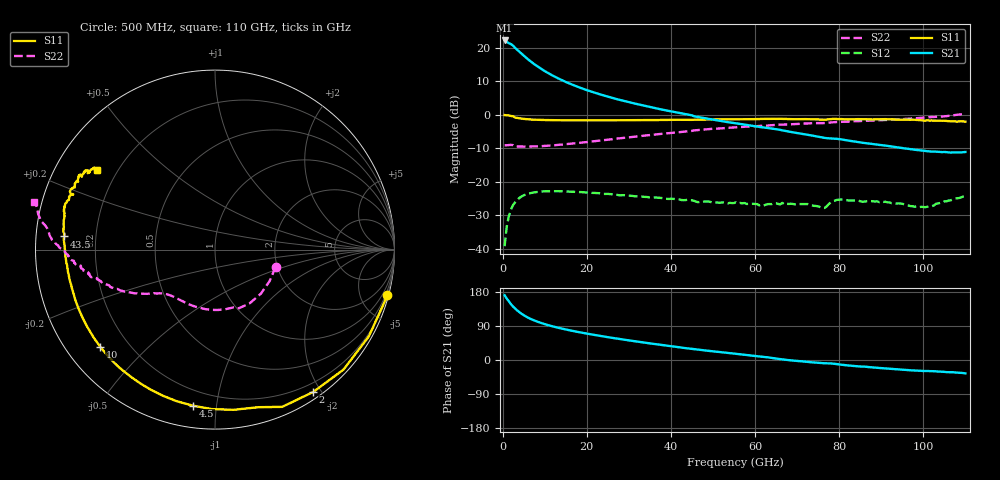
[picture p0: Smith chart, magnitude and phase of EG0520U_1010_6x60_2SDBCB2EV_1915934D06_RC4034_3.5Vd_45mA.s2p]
!File name = EG0520U_1010_6x60_2SDBCB2EV_1915934D06_RC4034_3.5Vd_45mA.s2p
!Base file name = EG0520U_1010_6x60_2SDBCB2EV_1915934D06_RC4034
!Date = 8/23/2019
!Time = 12:58 PM
!Test duration(min) = 0.15
!Test = S-Parameters
!MPTS version = 8.91.5
!State File = C:\Data\PNA\20190821205423\S-Parameters_2019-08-23.sta
!Cal File =
!ComputerName = CMPE-LAB-6
!Comments =
!Attenuation = 0
!Z0 = 50
!Input Power(dBm) = -13.00
!Device ID = EG0520U_1010_6x60_2SDBCB2EV
!Row = 40
!Column = 34
!Technology = QPHT09
!Lot/Wafer = 1915934D06
!Gate Size = 360
!Mask = EG0520
!Cal Standards = GaAs BCB
!Cal Kit = EG2306
!Job Number = 20190821205423
!Device Type = FET
!set_Vg(v) = -1.500
!set_Vd(v) = 3.500
!set_Vd(mA) = 45.000
!file_name = EG0520U_1010_6x60_2SDBCB2EV_1915934D06_RC4034_3.5Vd_45mA.s2p
!Vd(V) = 3.500
!Vd(mA) = 45.056
!Vg(V) = -0.494
!Vg(mA) = -0.002
# GHz  S  DB  R  50
!%	Freq(GHz)  s11(dB)  s11(deg)  s21(dB)  s21(deg)  s12(dB)  s12(deg)  s22(dB)  s22(deg)
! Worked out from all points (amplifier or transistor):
!   220 points, 500 MHz to 110 GHz, reference 50 ohm
!   highest |S21| = 22.2 dB at 500 MHz (marker M1)
!   |S21| within 3 dB of that: start of sweep to 3.679 GHz
!   unconditionally stable (mu >= 1): 32.14 GHz to 102.3 GHz
!   at 18.5 GHz: K = 0.55, MSG = 15.6 dB, |S12| = -23.0 dB
!   at 55.5 GHz: K = 1.53, MAG = 7.5 dB, |S12| = -26.1 dB
!   at 110 GHz: K = -1.70, MSG = 6.6 dB, |S12| = -24.2 dB
!   S11 on the Smith chart (normalised r, x): 500 MHz: 0.18, -7.66; 2 GHz: 0.09, -1.90; 4.5 GHz: 0.11, -0.86; 10 GHz: 0.10, -0.36; 43.5 GHz: 0.08, +0.04; 110 GHz: 0.13, +0.30
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0.5  -0.05 -14.9  22.22 170.9  -39.21 81.1  -9.08 -15.8
1  -0.14 -29.4  21.78 162.3  -33.44 73.4  -9.09 -30.2
2  -0.32 -55.4  21.14 147.5  -28.30 59.2  -8.97 -57.1
2.5  -0.42 -66.9  20.69 141.0  -26.93 53.4  -9.04 -67.7
3  -0.81 -74.6  20.00 135.9  -26.12 49.1  -9.42 -72.1
3.5  -0.93 -83.4  19.43 130.8  -25.38 44.6  -9.44 -80.2
4.5  -1.13 -98.0  18.29 122.1  -24.39 37.2  -9.46 -93.5
5.5  -1.26 -109.6  17.19 115.1  -23.79 31.6  -9.49 -103.6
7  -1.41 -122.8  15.66 106.8  -23.27 25.1  -9.44 -114.4
8.5  -1.48 -132.3  14.31 100.3  -22.97 20.5  -9.39 -121.3
10  -1.54 -139.8  13.10 94.8  -22.83 16.6  -9.28 -126.7
11.5  -1.58 -145.8  12.01 90.0  -22.79 13.6  -9.16 -130.7
13.5  -1.62 -152.0  10.73 84.4  -22.79 10.4  -8.94 -134.5
19  -1.66 -163.5  7.85 71.7  -23.09 4.7  -8.25 -140.9
26.5  -1.63 -172.8  4.92 57.7  -23.75 1.2  -7.19 -145.8
37  -1.53 179.0  1.82 40.8  -24.74 0.8  -5.77 -151.9
43.5  -1.46 175.0  0.23 31.4  -25.45 2.9  -4.98 -155.8
55.5  -1.33 168.2  -2.53 16.3  -26.14 5.9  -3.69 -163.4
73.5  -1.33 159.2  -6.17 -6.1  -27.07 4.6  -2.46 -172.0
92  -1.34 151.0  -9.36 -23.2  -26.15 -8.7  -1.47 -179.7
100.5  -1.71 148.6  -10.79 -29.0  -27.58 -5.0  -0.78 176.0
110  -2.03 146.0  -11.09 -35.2  -24.25 -7.2  0.34 165.4
